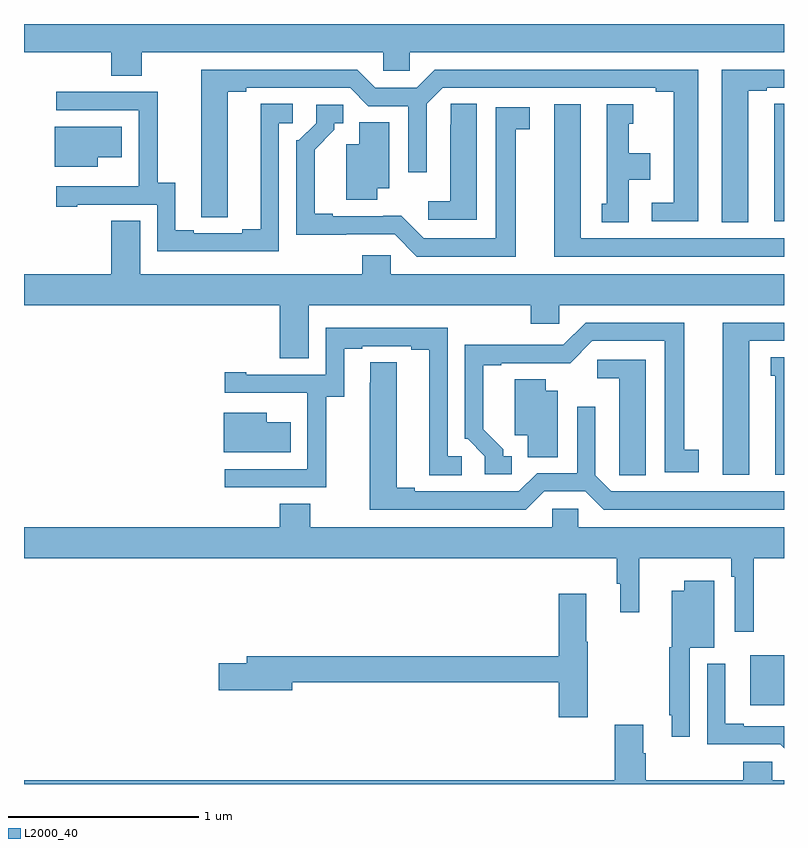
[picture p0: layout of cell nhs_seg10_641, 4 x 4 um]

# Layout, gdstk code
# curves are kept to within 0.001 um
import gdstk
lib = gdstk.Library(unit=1e-6, precision=1e-09)
def R(c, l, rs):  # rectangles x0, y0, x1, y1
    for r in rs: c.add(gdstk.rectangle(r[:2], r[2:], *l))
def P(c, l, *ps):  # polygons
    for p in ps: c.add(gdstk.Polygon(p, *l))
L2000_40 = (2000, 40)

nhs_seg10_641 = lib.new_cell('nhs_seg10_641')
R(nhs_seg10_641, L2000_40, [(146.822,1260.914,147,1261.177)])
P(nhs_seg10_641, L2000_40, [(143.619,1264.352),(144.891,1264.352),(144.891,1264.254),(145.029,1264.254),(145.029,1264.352),(147,1264.352),(147,1264.5),(143,1264.5),(143,1264.352),(143.459,1264.352),(143.459,1264.228),(143.619,1264.228)],
  [(146.548,1264.26),(145.163,1264.26),(145.067,1264.164),(144.849,1264.164),(144.753,1264.26),(143.933,1264.26),(143.934,1263.484),(144.073,1263.484),(144.073,1264.144),(144.169,1264.144),(144.169,1264.164),(144.717,1264.164),(144.813,1264.068),(145.023,1264.068),(145.023,1263.72),(145.119,1263.72),(145.119,1264.08),(145.203,1264.164),(146.324,1264.164),(146.324,1264.144),(146.42,1264.144),(146.42,1263.558),(146.304,1263.558),(146.304,1263.462),(146.548,1263.462)],
  [(146.812,1264.149),(146.908,1264.149),(146.908,1264.164),(147,1264.164),(147,1264.26),(146.672,1264.26),(146.672,1263.457),(146.812,1263.457)],
  [(144.342,1263.978),(144.415,1263.978),(144.415,1264.079),(144.245,1264.079),(144.245,1263.419),(144.149,1263.419),(144.149,1263.399),(143.893,1263.399),(143.893,1263.414),(143.797,1263.414),(143.797,1263.665),(143.703,1263.665),(143.703,1264.143),(143.169,1264.143),(143.169,1264.047),(143.604,1264.047),(143.604,1263.646),(143.603,1263.646),(143.603,1263.645),(143.169,1263.645),(143.169,1263.537),(143.281,1263.537),(143.281,1263.549),(143.7,1263.549),(143.7,1263.303),(144.342,1263.303)],
  [(147,1264.079),(146.949,1264.079),(146.949,1263.971),(146.948,1263.971),(146.948,1263.461),(147,1263.461)],
  [(145.384,1264.079),(145.245,1264.079),(145.245,1263.971),(145.244,1263.971),(145.244,1263.568),(145.128,1263.568),(145.128,1263.471),(145.384,1263.471)],
  [(146.182,1263.68),(146.296,1263.68),(146.296,1263.82),(146.182,1263.82),(146.182,1263.975),(146.206,1263.975),(146.206,1264.078),(146.066,1264.078),(146.066,1263.555),(146.042,1263.555),(146.042,1263.457),(146.182,1263.457)],
  [(147,1263.372),(145.93,1263.372),(145.93,1264.078),(145.79,1264.078),(145.79,1263.276),(147,1263.276)],
  [(145.588,1263.946),(145.663,1263.946),(145.663,1264.062),(145.484,1264.062),(145.484,1263.372),(145.104,1263.372),(144.986,1263.49),(144.625,1263.489),(144.625,1263.502),(144.529,1263.502),(144.529,1263.838),(144.634,1263.943),(144.634,1263.978),(144.679,1263.978),(144.679,1264.074),(144.537,1264.074),(144.537,1263.978),(144.447,1263.888),(144.432,1263.888),(144.432,1263.392),(144.951,1263.393),(145.068,1263.276),(145.588,1263.276)],
  [(144.859,1263.635),(144.922,1263.635),(144.922,1263.983),(144.764,1263.983),(144.764,1263.868),(144.695,1263.868),(144.695,1263.574),(144.859,1263.574)],
  [(143.389,1263.8),(143.515,1263.8),(143.515,1263.958),(143.162,1263.958),(143.162,1263.749),(143.389,1263.749)],
  [(144.499,1263.02),(145.667,1263.02),(145.667,1262.922),(145.818,1262.922),(145.818,1263.02),(147,1263.02),(147,1263.184),(144.93,1263.184),(144.93,1263.282),(144.779,1263.282),(144.779,1263.184),(143.611,1263.184),(143.611,1263.464),(143.459,1263.464),(143.459,1263.184),(143,1263.184),(143,1263.02),(144.347,1263.02),(144.347,1262.74),(144.499,1262.74)],
  [(146.818,1262.832),(147,1262.832),(147,1262.928),(146.678,1262.928),(146.678,1262.127),(146.818,1262.127)],
  [(145.567,1262.226),(145.522,1262.226),(145.522,1262.261),(145.417,1262.366),(145.417,1262.703),(145.513,1262.703),(145.513,1262.715),(145.874,1262.714),(145.992,1262.832),(146.372,1262.832),(146.372,1262.142),(146.551,1262.142),(146.551,1262.258),(146.476,1262.258),(146.476,1262.928),(145.956,1262.928),(145.839,1262.811),(145.583,1262.811),(145.583,1262.813),(145.32,1262.813),(145.32,1262.316),(145.335,1262.316),(145.425,1262.226),(145.425,1262.13),(145.567,1262.13)],
  [(144.591,1262.539),(144.685,1262.539),(144.685,1262.79),(144.781,1262.79),(144.781,1262.805),(145.037,1262.805),(145.037,1262.785),(145.133,1262.785),(145.133,1262.125),(145.303,1262.125),(145.303,1262.226),(145.23,1262.226),(145.23,1262.901),(144.588,1262.901),(144.588,1262.655),(144.169,1262.655),(144.169,1262.668),(144.057,1262.668),(144.057,1262.559),(144.491,1262.559),(144.491,1262.558),(144.492,1262.558),(144.492,1262.157),(144.057,1262.157),(144.057,1262.061),(144.591,1262.061)],
  [(147,1262.747),(146.93,1262.747),(146.93,1262.649),(146.954,1262.649),(146.954,1262.127),(147,1262.127)],
  [(146.272,1262.733),(146.016,1262.733),(146.016,1262.636),(146.132,1262.636),(146.132,1262.233),(146.133,1262.233),(146.133,1262.125),(146.272,1262.125)],
  [(145.737,1262.04),(145.955,1262.04),(146.051,1261.944),(147,1261.944),(147,1262.04),(146.091,1262.04),(146.007,1262.124),(146.007,1262.485),(145.911,1262.485),(145.911,1262.136),(145.701,1262.136),(145.605,1262.04),(145.057,1262.04),(145.057,1262.06),(144.961,1262.06),(144.961,1262.72),(144.822,1262.72),(144.821,1261.944),(145.641,1261.944)],
  [(145.81,1262.569),(145.747,1262.569),(145.747,1262.63),(145.583,1262.63),(145.583,1262.336),(145.652,1262.336),(145.652,1262.221),(145.81,1262.221)],
  [(144.403,1262.404),(144.277,1262.404),(144.277,1262.455),(144.05,1262.455),(144.05,1262.246),(144.403,1262.246)],
  [(146.84,1261.688),(147,1261.688),(147,1261.852),(145.917,1261.852),(145.917,1261.95),(145.779,1261.95),(145.779,1261.852),(144.507,1261.852),(144.507,1261.976),(144.347,1261.976),(144.347,1261.852),(143,1261.852),(143,1261.688),(146.119,1261.688),(146.119,1261.554),(146.138,1261.554),(146.138,1261.404),(146.238,1261.404),(146.238,1261.688),(146.722,1261.688),(146.722,1261.592),(146.742,1261.592),(146.742,1261.302),(146.84,1261.302)],
  [(146.505,1261.217),(146.632,1261.217),(146.632,1261.57),(146.474,1261.57),(146.474,1261.516),(146.408,1261.516),(146.408,1261.221),(146.397,1261.221),(146.397,1260.862),(146.408,1260.862),(146.408,1260.75),(146.505,1260.75)],
  [(145.968,1261.249),(145.96,1261.249),(145.96,1261.501),(145.814,1261.501),(145.814,1261.172),(144.173,1261.172),(144.173,1261.136),(144.024,1261.136),(144.024,1260.994),(144.412,1260.994),(144.412,1261.036),(145.814,1261.036),(145.814,1260.852),(145.968,1260.852)],
  [(147,1260.804),(146.788,1260.804),(146.788,1260.817),(146.692,1260.817),(146.692,1261.132),(146.595,1261.132),(146.595,1260.708),(146.979,1260.708),(147,1260.687)],
  [(147,1260.52),(146.937,1260.52),(146.937,1260.618),(146.786,1260.618),(146.786,1260.52),(146.273,1260.52),(146.273,1260.662),(146.26,1260.662),(146.26,1260.811),(146.108,1260.811),(146.108,1260.52),(143,1260.52),(143,1260.5),(147,1260.5)])

lib.write_gds('nhs_seg10_641.gds')
